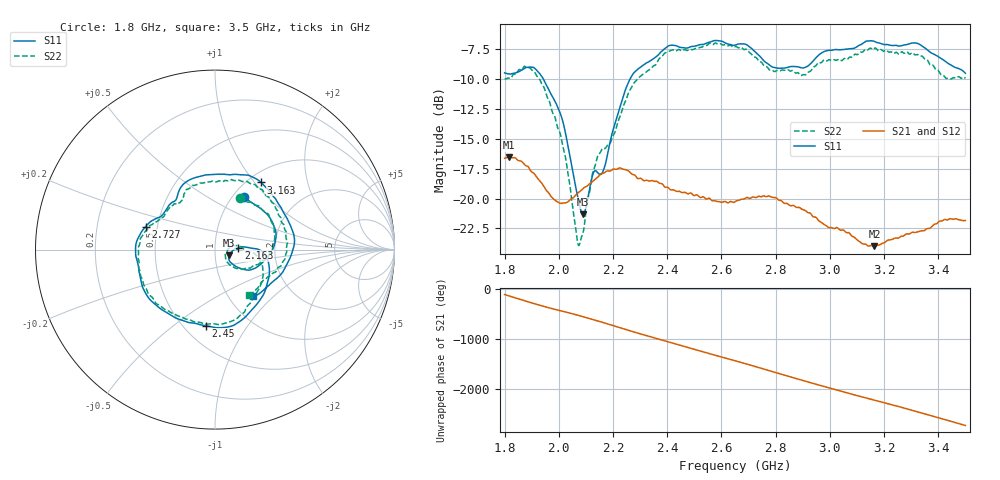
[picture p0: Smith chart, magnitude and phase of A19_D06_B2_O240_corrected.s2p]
! Created with skrf 1.9.0 (http://scikit-rf.org).
# Hz S RI R 50.0
!freq ReS11 ImS11 ReS21 ImS21 ReS12 ImS12 ReS22 ImS22
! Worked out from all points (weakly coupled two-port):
!   1601 points, 1.8 GHz to 3.5 GHz, reference 50 ohm
!   highest |S21| = -16.55 dB at 1.815 GHz (marker M1); lowest = -24.0 dB at 3.164 GHz (marker M2)
!   lowest |S11| = -21.3 dB at 2.09 GHz (marker M3), VSWR 1.19, Z = 58.5 - j3.82 ohm
!   |S11| at or under -10 dB: 1.943 GHz to 2.263 GHz (320.5 MHz wide, 15.2 % of centre)
!   |S22| runs from -23.9 to -7.0 dB; largest |S21 - S12| = 0.0024
!   S11 on the Smith chart (normalised r, x): 1.8 GHz: 1.13, +0.74; 2.163 GHz: 1.30, +0.03; 2.45 GHz: 0.64, -0.66; 2.727 GHz: 0.43, +0.13; 3.163 GHz: 1.15, +1.08; 3.5 GHz: 1.28, -0.75
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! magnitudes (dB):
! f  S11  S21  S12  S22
! 1.8 GHz  -9.5  -16.6  -16.6  -10.0
! 1.815 GHz  -9.6  -16.6  -16.5  -9.9
! 1.88 GHz  -9.1  -17.3  -17.3  -9.1
! 1.942 GHz  -10.0  -18.9  -18.9  -10.6
! 2.013 GHz  -13.4  -20.4  -20.4  -15.4
! 2.068 GHz  -19.6  -19.6  -19.6  -23.4
! 2.084 GHz  -21.1  -19.3  -19.2  -23.2
! 2.09 GHz  -21.3  -19.1  -19.2  -22.8
! 2.127 GHz  -17.9  -18.5  -18.5  -17.7
! 2.163 GHz  -17.7  -17.9  -17.8  -15.8
! 2.26 GHz  -10.1  -17.7  -17.8  -11.0
! 2.367 GHz  -8.0  -18.6  -18.6  -8.4
! 2.45 GHz  -7.4  -19.5  -19.4  -7.6
! 2.65 GHz  -7.2  -20.3  -20.2  -7.3
! 2.727 GHz  -7.8  -19.9  -19.9  -8.2
! 2.802 GHz  -9.1  -19.9  -20.0  -9.3
! 2.934 GHz  -8.6  -21.4  -21.4  -9.2
! 3.163 GHz  -6.9  -24.0  -23.9  -7.5
! 3.164 GHz  -6.9  -24.0  -23.9  -7.5
! 3.217 GHz  -7.2  -23.4  -23.4  -7.8
! 3.325 GHz  -7.0  -22.8  -22.7  -8.0
! 3.5 GHz  -9.5  -21.8  -21.8  -10.0
